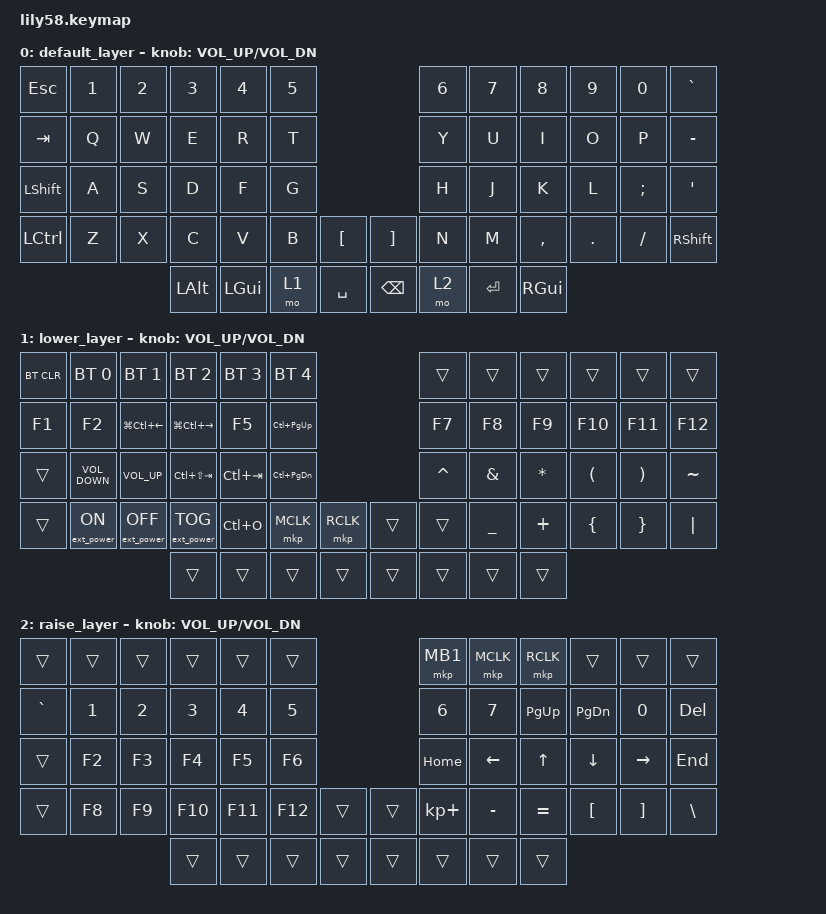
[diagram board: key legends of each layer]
/*
 * Copyright (c) 2020 The ZMK Contributors
 *
 * SPDX-License-Identifier: MIT
 */

#include <behaviors.dtsi>
#include <dt-bindings/zmk/bt.h>
#include <dt-bindings/zmk/ext_power.h>
#include <dt-bindings/zmk/keys.h>
#include <dt-bindings/zmk/mouse.h>

/ {
    keymap {
        compatible = "zmk,keymap";

        default_layer {
            // ------------------------------------------------------------------------------------------------------------
            // |  ESC  |  1  |  2  |  3   |  4   |  5   |                   |  6   |  7    |  8    |  9   |   0   |   `   |
            // |  TAB  |  Q  |  W  |  E   |  R   |  T   |                   |  Y   |  U    |  I    |  O   |   P   |   -   |
            // |  CTRL |  A  |  S  |  D   |  F   |  G   |                   |  H   |  J    |  K    |  L   |   ;   |   '   |
            // | SHIFT |  Z  |  X  |  C   |  V   |  B   |   "["  |  |  "]"  |  N   |  M    |  ,    |  .   |   /   | SHIFT |
            //                     | ALT  | GUI  | LOWER|  SPACE |  | ENTER | RAISE| BSPC  | GUI   |

            bindings = <
&kp ESC         &kp N1  &kp N2  &kp N3    &kp N4    &kp N5                              &kp N6  &kp N7     &kp N8     &kp N9   &kp N0    &kp GRAVE
&kp TAB         &kp Q   &kp W   &kp E     &kp R     &kp T                               &kp Y   &kp U      &kp I      &kp O    &kp P     &kp MINUS
&kp LEFT_SHIFT  &kp A   &kp S   &kp D     &kp F     &kp G                               &kp H   &kp J      &kp K      &kp L    &kp SEMI  &kp SQT
&kp LCTRL       &kp Z   &kp X   &kp C     &kp V     &kp B   &kp LBKT     &kp RBKT       &kp N   &kp M      &kp COMMA  &kp DOT  &kp FSLH  &kp RSHFT
                                &kp LALT  &kp LGUI  &mo 1   &kp SPACE    &kp BACKSPACE  &mo 2   &kp ENTER  &kp RGUI
            >;

            sensor-bindings = <&inc_dec_kp C_VOL_UP C_VOL_DN>;
        };

        lower_layer {
            // ------------------------------------------------------------------------------------------------------------
            // | BTCLR | BT1 | BT2 |  BT3 |  BT4 |  BT5 |                   |      |       |       |      |       |       |
            // |  F1   |  F2 |  F3 |  F4  |  F5  |  F6  |                   |  F7  |  F8   |  F9   |  F10 |  F11  |  F12  |
            // |   `   |  !  |  @  |  #   |  $   |  %   |                   |  ^   |  &    |  *    |  (   |   )   |   ~   |
            // |       |     |     |      |      |      |        |  |       |      |  _    |  +    |  {   |   }   |  "|"  |
            //                     |      |      |      |        |  |       |      |       |       |

            bindings = <
&bt BT_CLR  &bt BT_SEL 0       &bt BT_SEL 1            &bt BT_SEL 2       &bt BT_SEL 3  &bt BT_SEL 4                            &trans     &trans          &trans     &trans    &trans    &trans
&kp F1      &kp F2             &kp LG(LC(LEFT_ARROW))  &kp LG(LC(RIGHT))  &kp F5        &kp LC(PAGE_UP)                         &kp F7     &kp F8          &kp F9     &kp F10   &kp F11   &kp F12
&trans      &kp C_VOLUME_DOWN  &kp C_VOLUME_UP         &kp LC(LS(TAB))    &kp LC(TAB)   &kp LC(PAGE_DOWN)                       &kp CARET  &kp AMPS        &kp ASTRK  &kp LPAR  &kp RPAR  &kp TILDE
&trans      &ext_power EP_ON   &ext_power EP_OFF       &ext_power EP_TOG  &kp LC(O)     &mkp MCLK          &mkp RCLK    &trans  &trans     &kp UNDERSCORE  &kp PLUS   &kp LBRC  &kp RBRC  &kp PIPE
                                                       &trans             &trans        &trans             &trans       &trans  &trans     &trans          &trans
            >;

            sensor-bindings = <&inc_dec_kp C_VOL_UP C_VOL_DN>;
        };

        raise_layer {
            // ------------------------------------------------------------------------------------------------------------
            // |       |     |     |      |      |      |                   |      |       |       |      |       |       |
            // |   `   |  1  |  2  |  3   |  4   |  5   |                   |  6   |   7   |   8   |  9   |   0   |       |
            // |   F1  |  F2 |  F3 |  F4  |  F5  |  F6  |                   |      |   <-  |   v   |  ^   |  ->   |       |
            // |   F7  |  F8 |  F9 |  F10 |  F11 |  F12 |        |  |       |  +   |   -   |   =   |  [   |   ]   |   \   |
            //                     |      |      |      |        |  |       |      |       |       |

            bindings = <
&trans     &trans  &trans  &trans   &trans   &trans                     &mkp MB1     &mkp MCLK  &mkp RCLK     &trans         &trans     &trans
&kp GRAVE  &kp N1  &kp N2  &kp N3   &kp N4   &kp N5                     &kp N6       &kp N7     &kp PAGE_UP   &kp PAGE_DOWN  &kp N0     &kp DELETE
&trans     &kp F2  &kp F3  &kp F4   &kp F5   &kp F6                     &kp HOME     &kp LEFT   &kp UP_ARROW  &kp DOWN       &kp RIGHT  &kp END
&trans     &kp F8  &kp F9  &kp F10  &kp F11  &kp F12  &trans    &trans  &kp KP_PLUS  &kp MINUS  &kp EQUAL     &kp LBKT       &kp RBKT   &kp BSLH
                           &trans   &trans   &trans   &trans    &trans  &trans       &trans     &trans
            >;

            sensor-bindings = <&inc_dec_kp C_VOL_UP C_VOL_DN>;
        };
    };
};
